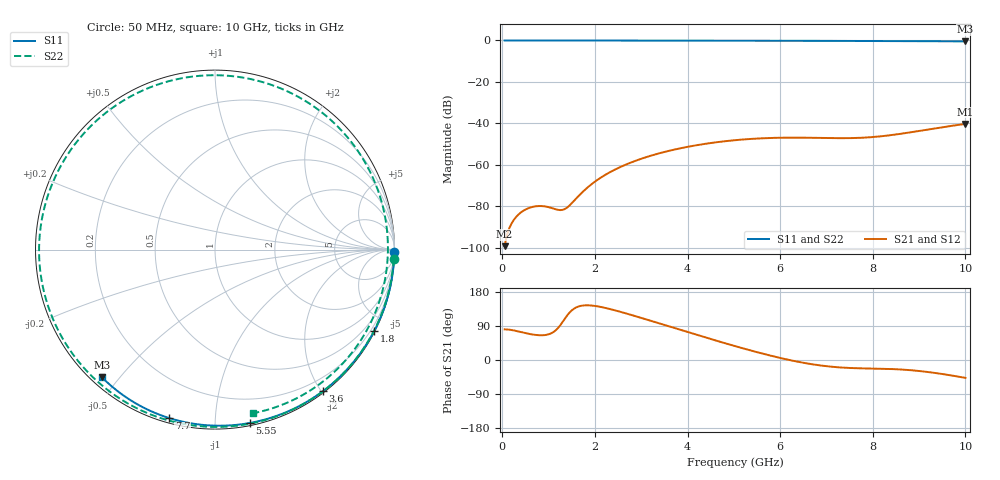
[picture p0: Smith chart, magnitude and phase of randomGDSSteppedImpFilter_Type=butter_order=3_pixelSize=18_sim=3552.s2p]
! freq	dB(S11)	phase(S11)	dB(S12)	phase(S12)
!  dB(S21)	phase(S21)	dB(S22)	phase(S22)
!S-par simulation data
#  GHz  S  DB  R 50
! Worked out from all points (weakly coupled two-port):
!   200 points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, 50 MHz to 10 GHz, reference 50 ohm
!   highest |S21| = -40.19 dB at 10 GHz (marker M1); lowest = -99.1 dB at 50 MHz (marker M2)
!   lowest |S11| = -0.4 dB at 10 GHz (marker M3), VSWR 39.05, Z = 1.54 - j22.5 ohm
!   |S11| at or under -10 dB: nowhere
!   |S22| runs from -0.6 to 0.0 dB; largest |S21 - S12| = 0
!   S11 on the Smith chart (normalised r, x): 50 MHz: open; 1.8 GHz: 0.04, -4.17; 3.6 GHz: 0.02, -2.02; 5.55 GHz: 0.02, -1.22; 7.7 GHz: 0.02, -0.77; 10 GHz: 0.03, -0.45
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0.05  -0.00 -0.7  -99.13 80.9  -99.13 80.9  -0.02 -3.1
0.45  -0.01 -6.8  -82.13 72.3  -82.13 72.3  -0.05 -28.7
0.95  -0.02 -14.3  -80.07 66.3  -80.07 66.3  -0.07 -59.4
1.45  -0.03 -21.8  -79.55 124.8  -79.55 124.8  -0.10 -88.0
1.75  -0.03 -26.2  -72.67 143.9  -72.67 143.9  -0.12 -104.0
1.8  -0.03 -27.0  -71.64 144.3  -71.64 144.3  -0.12 -106.6
2.15  -0.04 -32.1  -65.76 139.4  -65.76 139.4  -0.13 -124.2
2.6  -0.05 -38.6  -60.47 125.5  -60.47 125.5  -0.15 -145.5
3  -0.06 -44.3  -57.02 111.1  -57.02 111.1  -0.16 -163.5
3.4  -0.07 -49.9  -54.32 96.2  -54.32 96.2  -0.17 179.1
3.6  -0.07 -52.7  -53.18 88.7  -53.18 88.7  -0.18 170.5
4.25  -0.09 -61.6  -50.28 64.5  -50.28 64.5  -0.21 143.2
4.65  -0.10 -67.0  -48.98 50.0  -48.98 50.0  -0.22 126.4
5.05  -0.11 -72.2  -48.01 35.8  -48.01 35.8  -0.23 109.7
5.55  -0.13 -78.7  -47.22 19.1  -47.22 19.1  -0.25 88.7
6.1  -0.15 -85.7  -46.84 2.7  -46.84 2.7  -0.27 65.6
6.7  -0.18 -93.1  -46.90 -11.4  -46.90 -11.4  -0.28 40.7
7.2  -0.21 -99.2  -47.07 -18.7  -47.07 -18.7  -0.30 20.5
7.7  -0.24 -105.1  -46.95 -21.9  -46.95 -21.9  -0.32 1.0
8.35  -0.29 -112.7  -45.74 -23.6  -45.74 -23.6  -0.36 -22.9
9.2  -0.36 -122.5  -42.90 -31.8  -42.90 -31.8  -0.45 -51.8
10  -0.44 -131.5  -40.19 -47.2  -40.19 -47.2  -0.58 -76.8
